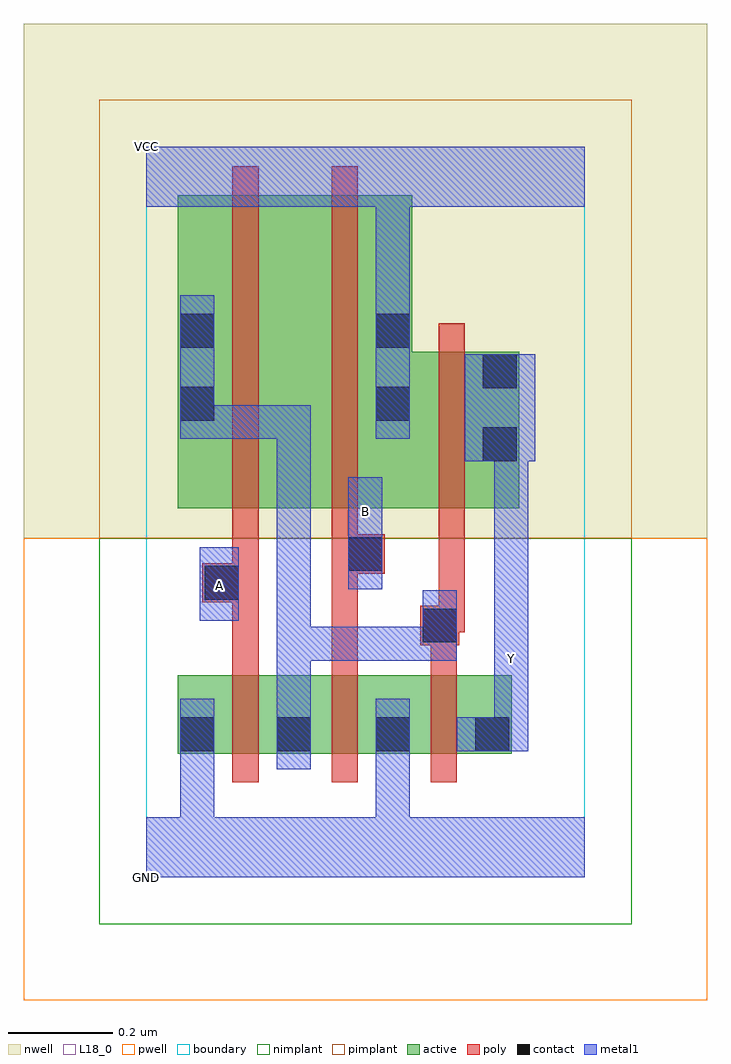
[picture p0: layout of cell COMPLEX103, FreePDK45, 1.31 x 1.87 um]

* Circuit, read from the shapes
.subckt COMPLEX103 A B GND VCC Y
M1 n1 A GND VSUBS nfet w=0.15u l=0.05u
M2 GND B n1 VSUBS nfet w=0.15u l=0.05u
M3 Y n1 GND VSUBS nfet w=0.15u l=0.05u
M4 n2 A n1 n3 pfet w=0.6u l=0.05u
M5 VCC B n2 n3 pfet w=0.6u l=0.05u
M6 Y n1 VCC n3 pfet w=0.3u l=0.05u
.ends

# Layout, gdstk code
import gdstk
lib = gdstk.Library(unit=1e-6, precision=1e-09)
def R(c, l, rs):  # rectangles x0, y0, x1, y1
    for r in rs: c.add(gdstk.rectangle(r[:2], r[2:], *l))
def A(c, l, x, y, w, h, nx, ny, dx, dy):  # array of equal rectangles
    R(c, l, [(x+i*dx, y+j*dy, x+i*dx+w, y+j*dy+h) for i in range(nx) for j in range(ny)])
active = (1, 0)
pwell = (2, 0)
nwell = (3, 0)
nimplant = (4, 0)
pimplant = (5, 0)
poly = (9, 0)
contact = (10, 0)
metal1 = (11, 0)
L18_0 = (18, 0)
boundary = (235, 0)

complex103 = lib.new_cell('COMPLEX103')
R(complex103, active, [(0.06,0.237,0.135,0.387), (0.06,0.237,0.32,0.387), (0.245,0.237,0.51,0.387), (0.245,0.237,0.32,0.312), (0.435,0.237,0.7,0.387), (0.435,0.237,0.51,0.382), (0.625,0.237,0.7,0.387), (0.06,0.707,0.285,1.307), (0.06,0.707,0.165,1.2), (0.285,0.707,0.51,1.307), (0.435,0.707,0.715,1.007), (0.435,0.707,0.51,1.132), (0.64,0.707,0.715,1.007)])
R(complex103, pwell, [(-0.235,-0.235,1.075,0.65)])
R(complex103, nwell, [(-0.235,0.65,1.075,1.635)])
R(complex103, nimplant, [(-0.09,-0.09,0.93,0.65)])
R(complex103, pimplant, [(-0.09,0.65,0.93,1.49)])
A(complex103, poly, 0.165, 0.182, 0.05, 0.26, 3, 1, 0.19, 0)
R(complex103, poly, [(0.165,0.392,0.215,0.577), (0.355,0.392,0.405,0.632), (0.545,0.392,0.595,0.495), (0.525,0.445,0.6,0.52), (0.55,0.47,0.6,0.52), (0.55,0.47,0.61,0.52), (0.56,0.47,0.61,0.702), (0.107,0.527,0.215,0.602), (0.165,0.552,0.215,0.602), (0.165,0.552,0.215,0.602), (0.165,0.552,0.215,0.702), (0.355,0.582,0.405,0.632), (0.355,0.582,0.405,0.632), (0.355,0.582,0.457,0.657), (0.355,0.607,0.405,0.702), (0.165,0.652,0.215,1.362), (0.355,0.652,0.405,1.362), (0.56,0.652,0.61,1.062)])
A(complex103, contact, 0.25, 0.242, 0.065, 0.065, 3, 1, 0.19, 0)
R(complex103, contact, [(0.065,0.242,0.13,0.307), (0.53,0.45,0.595,0.515), (0.112,0.532,0.177,0.597), (0.387,0.587,0.452,0.652), (0.645,0.797,0.71,0.862), (0.065,0.875,0.13,0.94), (0.44,0.875,0.505,0.94), (0.645,0.937,0.71,1.002), (0.065,1.015,0.13,1.08), (0.44,1.015,0.505,1.08)])
R(complex103, metal1, [(0,0,0.84,0.115), (0.065,0.05,0.13,0.272), (0.44,0.05,0.505,0.272), (0.065,0.207,0.13,0.272), (0.065,0.207,0.13,0.272), (0.065,0.207,0.13,0.272), (0.065,0.207,0.13,0.272), (0.065,0.207,0.13,0.342), (0.25,0.207,0.315,0.342), (0.44,0.207,0.505,0.272), (0.44,0.207,0.505,0.272), (0.44,0.207,0.505,0.272), (0.44,0.207,0.505,0.272), (0.44,0.207,0.505,0.342), (0.595,0.242,0.732,0.307), (0.667,0.242,0.732,0.417), (0.25,0.277,0.315,0.48), (0.667,0.352,0.732,0.487), (0.25,0.415,0.315,0.48), (0.25,0.415,0.315,0.48), (0.25,0.415,0.315,0.48), (0.25,0.415,0.522,0.48), (0.25,0.415,0.315,0.905), (0.457,0.415,0.522,0.48), (0.457,0.415,0.595,0.48), (0.53,0.415,0.595,0.55), (0.667,0.422,0.732,0.862), (0.667,0.422,0.732,0.487), (0.667,0.422,0.732,0.487), (0.102,0.492,0.177,0.632), (0.387,0.552,0.452,0.767), (0.61,0.797,0.745,1.002), (0.065,0.84,0.13,0.905), (0.065,0.84,0.13,0.905), (0.065,0.84,0.13,0.905), (0.065,0.84,0.13,0.905), (0.065,0.84,0.13,1.115), (0.065,0.84,0.315,0.905), (0.25,0.84,0.315,0.905), (0.44,0.84,0.505,1.115), (0.44,1.05,0.505,1.35), (0,1.285,0.84,1.4)])
R(complex103, L18_0, [(0,0,0.84,0.115), (0.065,0.05,0.13,0.272), (0.44,0.05,0.505,0.272), (0.065,0.207,0.13,0.272), (0.065,0.207,0.13,0.272), (0.065,0.207,0.13,0.272), (0.065,0.207,0.13,0.272), (0.065,0.207,0.13,0.342), (0.44,0.207,0.505,0.272), (0.44,0.207,0.505,0.272), (0.44,0.207,0.505,0.272), (0.44,0.207,0.505,0.272), (0.44,0.207,0.505,0.342), (0.595,0.242,0.732,0.307), (0.667,0.242,0.732,0.417), (0.667,0.352,0.732,0.487), (0.667,0.387,0.732,0.452), (0.667,0.422,0.732,0.487), (0.667,0.422,0.732,0.487), (0.667,0.422,0.732,0.862), (0.102,0.492,0.177,0.632), (0.107,0.527,0.172,0.592), (0.387,0.552,0.452,0.767), (0.387,0.667,0.452,0.732), (0.61,0.797,0.745,1.002), (0.44,0.84,0.505,1.115), (0.44,1.05,0.505,1.35), (0,1.285,0.84,1.4)])
R(complex103, boundary, [(0,0,0.84,1.4)])
complex103.add(gdstk.Label('A', (0.14,0.56), layer=11, texttype=0))
complex103.add(gdstk.Label('B', (0.42,0.7), layer=11, texttype=0))
complex103.add(gdstk.Label('Y', (0.7,0.42), layer=11, texttype=0))
complex103.add(gdstk.Label('VCC', (0,1.4), layer=11, texttype=0))
complex103.add(gdstk.Label('GND', (0,0), layer=11, texttype=0))

lib.write_gds('COMPLEX103.gds')
